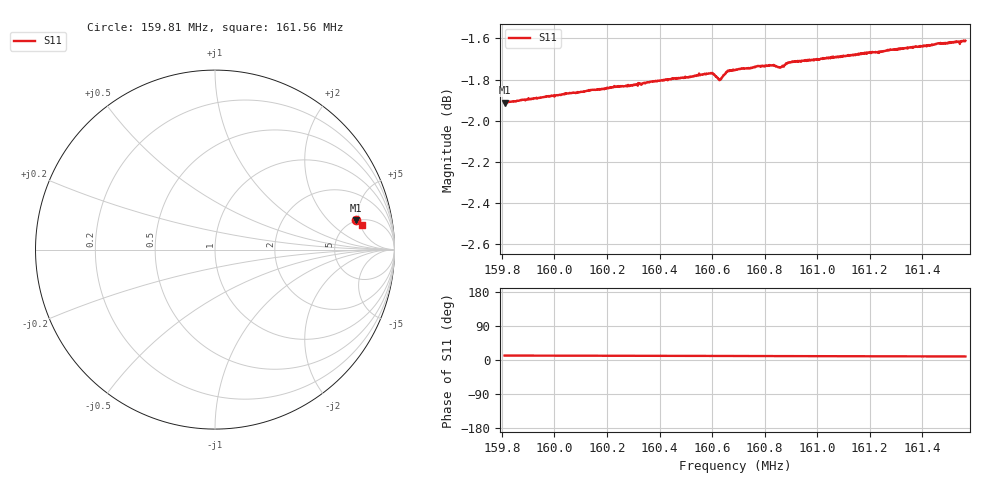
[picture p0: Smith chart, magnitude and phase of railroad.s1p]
! Calibrated averaged scanner-service zoom
# Hz S RI R 50
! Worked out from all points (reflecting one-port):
!   1001 points, 159.81 MHz to 161.56 MHz, reference 50 ohm
!   lowest |S11| = -1.9 dB at 159.81 MHz (marker M1), VSWR 9.12, Z = 246 + j225 ohm
!   phase of S11 starts at 12 deg and turns -2 deg over the sweep
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1.5981e8  0.7857 0.1628
1.600294e8  0.7902 0.1598
1.602488e8  0.7944 0.1564
1.602909e8  0.795 0.1557
1.603716e8  0.7971 0.1547
1.604681e8  0.7989 0.1532
1.605155e8  0.7997 0.1528
1.605945e8  0.8015 0.1517
1.606033e8  0.8015 0.1518
1.606226e8  0.7992 0.1525
1.606296e8  0.7981 0.1527
1.606366e8  0.7991 0.1523
1.606524e8  0.8018 0.1511
1.606612e8  0.8028 0.1504
1.606875e8  0.8032 0.15
1.607437e8  0.8042 0.149
1.607752e8  0.8055 0.1486
1.608226e8  0.8059 0.1477
1.608367e8  0.8059 0.1468
1.608525e8  0.8054 0.1452
1.608595e8  0.8054 0.1445
1.608911e8  0.8075 0.1467
1.609069e8  0.8077 0.1462
1.611262e8  0.8115 0.1424
1.613456e8  0.8154 0.1386
1.614369e8  0.8175 0.1373
1.614632e8  0.8182 0.1365
1.61565e8  0.8198 0.1345
